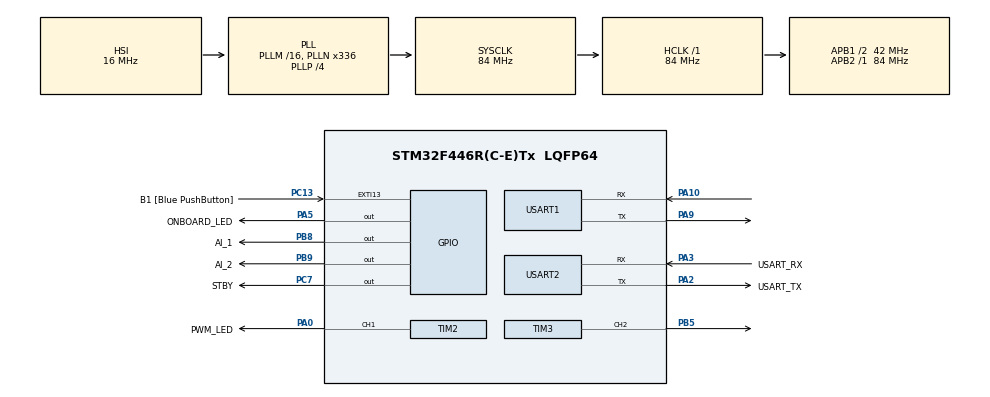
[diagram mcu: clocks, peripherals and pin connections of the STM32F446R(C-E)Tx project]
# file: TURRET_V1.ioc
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Mcu.Family=STM32F4
Mcu.Name=STM32F446R(C-E)Tx
Mcu.Package=LQFP64
NVIC.PriorityGroup=NVIC_PRIORITYGROUP_0
NVIC.USART1_IRQn=true\:0\:0\:false\:false\:true\:true\:true\:true
PA0-WKUP.GPIO_Label=PWM_LED
PA0-WKUP.Signal=S_TIM2_CH1_ETR
PA10.Mode=Asynchronous
PA10.Signal=USART1_RX
PA13.GPIO_Label=TMS
PA13.Mode=Serial_Wire
PA13.Signal=SYS_JTMS-SWDIO
PA14.GPIO_Label=TCK
PA14.Mode=Serial_Wire
PA14.Signal=SYS_JTCK-SWCLK
PA2.GPIO_Label=USART_TX
PA2.Mode=Asynchronous
PA2.Signal=USART2_TX
PA3.GPIO_Label=USART_RX
PA3.Mode=Asynchronous
PA3.Signal=USART2_RX
PA5.GPIO_Label=ONBOARD_LED
PA5.Signal=GPIO_Output
PA9.Mode=Asynchronous
PA9.Signal=USART1_TX
PB3.GPIO_Label=SWO
PB3.Signal=SYS_JTDO-SWO
PB5.Signal=S_TIM3_CH2
PB8.GPIO_Label=AI_1
PB8.Signal=GPIO_Output
PB9.GPIO_Label=AI_2
PB9.Signal=GPIO_Output
PC13.GPIO_Label=B1 [Blue PushButton]
PC13.GPIO_ModeDefaultEXTI=GPIO_MODE_IT_FALLING
PC13.Signal=GPXTI13
PC14-OSC32_IN.Mode=LSE-External-Oscillator
PC14-OSC32_IN.Signal=RCC_OSC32_IN
PC15-OSC32_OUT.Mode=LSE-External-Oscillator
PC15-OSC32_OUT.Signal=RCC_OSC32_OUT
PC7.GPIO_Label=STBY
PC7.PinState=GPIO_PIN_RESET
PC7.Signal=GPIO_Output
PH0-OSC_IN.Mode=HSE-External-Oscillator
PH0-OSC_IN.Signal=RCC_OSC_IN
PH1-OSC_OUT.Mode=HSE-External-Oscillator
PH1-OSC_OUT.Signal=RCC_OSC_OUT
ProjectManager.HeapSize=0x200
ProjectManager.StackSize=0x400
ProjectManager.TargetToolchain=STM32CubeIDE
RCC.48MHZClocksFreq_Value=84000000
RCC.AHBFreq_Value=84000000
RCC.APB1CLKDivider=RCC_HCLK_DIV2
RCC.APB1Freq_Value=42000000
RCC.APB1TimFreq_Value=84000000
RCC.APB2Freq_Value=84000000
RCC.APB2TimFreq_Value=84000000
RCC.CortexFreq_Value=84000000
RCC.FLatency-AdvancedSettings=FLASH_LATENCY_2
RCC.HCLKFreq_Value=84000000
RCC.HSE_VALUE=8000000
RCC.HSI_VALUE=16000000
RCC.PLLN=336
RCC.PLLP=RCC_PLLP_DIV4
RCC.SYSCLKFreq_VALUE=84000000
RCC.SYSCLKSource=RCC_SYSCLKSOURCE_PLLCLK
RCC.USBFreq_Value=168000000
RCC.VCOOutputFreq_Value=336000000
SH.S_TIM2_CH1_ETR.0=TIM2_CH1,PWM Generation1 CH1
SH.S_TIM3_CH2.0=TIM3_CH2,PWM Generation2 CH2
TIM2.Channel-PWM\ Generation1\ CH1=TIM_CHANNEL_1
TIM2.Period=999
TIM2.Prescaler=3
TIM3.Channel-PWM\ Generation2\ CH2=TIM_CHANNEL_2
TIM3.Period=999
TIM3.Prescaler=3
USART1.VirtualMode=VM_ASYNC
USART2.VirtualMode=VM_ASYNC
VP_TIM2_VS_ClockSourceINT.Mode=Internal
VP_TIM3_VS_ClockSourceINT.Mode=Internal
board=NUCLEO-F446RE

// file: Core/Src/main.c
/* USER CODE BEGIN Header */
/**
  ******************************************************************************
  * @file           : main.c
  * @brief          : Main program body
  ******************************************************************************
  * @attention
  *
  * Copyright (c) 2026 STMicroelectronics.
  * All rights reserved.
  *
  * This software is licensed under terms that can be found in the LICENSE file
  * in the root directory of this software component.
  * If no LICENSE file comes with this software, it is provided AS-IS.
  *
  ******************************************************************************
  */
/* USER CODE END Header */
#include "main.h"

/* USER CODE BEGIN Includes */
#include "string.h"
#include "stdlib.h"
#include "stdio.h"

/* USER CODE END Includes */

TIM_HandleTypeDef htim2;
TIM_HandleTypeDef htim3;

UART_HandleTypeDef huart1;
UART_HandleTypeDef huart2;

void SystemClock_Config(void);
static void MX_GPIO_Init(void);
static void MX_TIM2_Init(void);
static void MX_TIM3_Init(void);
static void MX_USART1_UART_Init(void);
static void MX_USART2_UART_Init(void);
/* USER CODE BEGIN PFP */
void parse(char *buffer);

/* USER CODE END PFP */

/* USER CODE BEGIN 0 */
#define RX_BUF_SIZE 32

volatile char rx_buff[RX_BUF_SIZE];
uint16_t power;
char dir;
uint32_t ccr;
volatile uint8_t cmdReady;
volatile uint8_t rxByte;
volatile uint8_t rxIndex;

//  ----------- STATE MACHINE FOR MOTOR / ONBOARD LED -------------
typedef enum {
    STOP,
    FORWARD,
    REVERSE
} Direction;

Direction direction = STOP;

/* USER CODE END 0 */

int main(void)
{

  /* MCU Configuration--------------------------------------------------------*/

  /* Reset of all peripherals, Initializes the Flash interface and the Systick. */
  HAL_Init();

  /* Configure the system clock */
  SystemClock_Config();

  /* Initialize all configured peripherals */
  MX_GPIO_Init();
  MX_TIM2_Init();
  MX_TIM3_Init();
  MX_USART1_UART_Init();
  MX_USART2_UART_Init();
  /* USER CODE BEGIN 2 */

  //  ------------ CONFIGURE PERIPHERALS TO RECEIVE INSTRUCTION --------------

  HAL_UART_Receive_IT(&huart1, &rxByte, 1);
  HAL_TIM_PWM_Start(&htim2, TIM_CHANNEL_1);
  HAL_TIM_PWM_Start(&htim3, TIM_CHANNEL_2);

  HAL_GPIO_WritePin(STBY_GPIO_Port, STBY_Pin, GPIO_PIN_SET);

  /* USER CODE END 2 */

  /* Infinite loop */
  /* USER CODE BEGIN WHILE */

  while (1)
  {

	  if (cmdReady) {

	      parse(rx_buff);          // populates dir, pow

	      if (power == 0 || dir == 's') {
	          direction = STOP;
	      } else if (dir == 'f') {
	          direction = FORWARD;
	      } else {
	          direction = REVERSE;
	      }

	      // set driver inputs based on direction
	      if(direction == STOP) {
	    	  HAL_GPIO_WritePin(AI_1_GPIO_Port, AI_1_Pin, GPIO_PIN_RESET);
	    	  HAL_GPIO_WritePin(AI_2_GPIO_Port, AI_2_Pin, GPIO_PIN_RESET);

	    	  HAL_GPIO_WritePin(ONBOARD_LED_GPIO_Port, ONBOARD_LED_Pin, GPIO_PIN_RESET);
	      }
	      else if (direction == FORWARD){
	    	  HAL_GPIO_WritePin(AI_1_GPIO_Port, AI_1_Pin, GPIO_PIN_SET);
	    	  HAL_GPIO_WritePin(AI_2_GPIO_Port, AI_2_Pin, GPIO_PIN_RESET);

	    	  HAL_GPIO_WritePin(ONBOARD_LED_GPIO_Port, ONBOARD_LED_Pin, GPIO_PIN_SET);
	      }
	      else {
	    	  HAL_GPIO_WritePin(AI_1_GPIO_Port, AI_1_Pin, GPIO_PIN_RESET);
	    	  HAL_GPIO_WritePin(AI_2_GPIO_Port, AI_2_Pin, GPIO_PIN_SET);
	      }

	      // configuring ccr to drive pwm light
	      if (power > 999) {
	    	  power = 999;
	      }

	      ccr = power;
	      __HAL_TIM_SET_COMPARE(&htim2, TIM_CHANNEL_1, ccr);
	      __HAL_TIM_SET_COMPARE(&htim3, TIM_CHANNEL_2, ccr);

	      // debug echo back to Mac over USART2
	      char dbg[64];
	      int len = snprintf(dbg, sizeof(dbg),
	                         "RX: %s | dir=%c power=%u ccr=%lu\r\n",
	                         (char*)rx_buff, dir, power, ccr);
	      HAL_UART_Transmit(&huart2, (uint8_t*)dbg, len, HAL_MAX_DELAY);

	      cmdReady = 0;

	 }
    /* USER CODE END WHILE */

  }
}

void SystemClock_Config(void)
{
  RCC_OscInitTypeDef RCC_OscInitStruct = {0};
  RCC_ClkInitTypeDef RCC_ClkInitStruct = {0};

  /** Configure the main internal regulator output voltage
  */
  __HAL_RCC_PWR_CLK_ENABLE();
  __HAL_PWR_VOLTAGESCALING_CONFIG(PWR_REGULATOR_VOLTAGE_SCALE3);

  /** Initializes the RCC Oscillators according to the specified parameters
  * in the RCC_OscInitTypeDef structure.
  */
  RCC_OscInitStruct.OscillatorType = RCC_OSCILLATORTYPE_HSI;
  RCC_OscInitStruct.HSIState = RCC_HSI_ON;
  RCC_OscInitStruct.HSICalibrationValue = RCC_HSICALIBRATION_DEFAULT;
  RCC_OscInitStruct.PLL.PLLState = RCC_PLL_ON;
  RCC_OscInitStruct.PLL.PLLSource = RCC_PLLSOURCE_HSI;
  RCC_OscInitStruct.PLL.PLLM = 16;
  RCC_OscInitStruct.PLL.PLLN = 336;
  RCC_OscInitStruct.PLL.PLLP = RCC_PLLP_DIV4;
  RCC_OscInitStruct.PLL.PLLQ = 2;
  RCC_OscInitStruct.PLL.PLLR = 2;
  if (HAL_RCC_OscConfig(&RCC_OscInitStruct) != HAL_OK)
  {
    Error_Handler();
  }

  /** Initializes the CPU, AHB and APB buses clocks
  */
  RCC_ClkInitStruct.ClockType = RCC_CLOCKTYPE_HCLK|RCC_CLOCKTYPE_SYSCLK
                              |RCC_CLOCKTYPE_PCLK1|RCC_CLOCKTYPE_PCLK2;
  RCC_ClkInitStruct.SYSCLKSource = RCC_SYSCLKSOURCE_PLLCLK;
  RCC_ClkInitStruct.AHBCLKDivider = RCC_SYSCLK_DIV1;
  RCC_ClkInitStruct.APB1CLKDivider = RCC_HCLK_DIV2;
  RCC_ClkInitStruct.APB2CLKDivider = RCC_HCLK_DIV1;

  if (HAL_RCC_ClockConfig(&RCC_ClkInitStruct, FLASH_LATENCY_2) != HAL_OK)
  {
    Error_Handler();
  }
}

static void MX_TIM2_Init(void)
{

  TIM_ClockConfigTypeDef sClockSourceConfig = {0};
  TIM_MasterConfigTypeDef sMasterConfig = {0};
  TIM_OC_InitTypeDef sConfigOC = {0};

  htim2.Instance = TIM2;
  htim2.Init.Prescaler = 3;
  htim2.Init.CounterMode = TIM_COUNTERMODE_UP;
  htim2.Init.Period = 999;
  htim2.Init.ClockDivision = TIM_CLOCKDIVISION_DIV1;
  htim2.Init.AutoReloadPreload = TIM_AUTORELOAD_PRELOAD_DISABLE;
  if (HAL_TIM_Base_Init(&htim2) != HAL_OK)
  {
    Error_Handler();
  }
  sClockSourceConfig.ClockSource = TIM_CLOCKSOURCE_INTERNAL;
  if (HAL_TIM_ConfigClockSource(&htim2, &sClockSourceConfig) != HAL_OK)
  {
    Error_Handler();
  }
  if (HAL_TIM_PWM_Init(&htim2) != HAL_OK)
  {
    Error_Handler();
  }
  sMasterConfig.MasterOutputTrigger = TIM_TRGO_RESET;
  sMasterConfig.MasterSlaveMode = TIM_MASTERSLAVEMODE_DISABLE;
  if (HAL_TIMEx_MasterConfigSynchronization(&htim2, &sMasterConfig) != HAL_OK)
  {
    Error_Handler();
  }
  sConfigOC.OCMode = TIM_OCMODE_PWM1;
  sConfigOC.Pulse = 0;
  sConfigOC.OCPolarity = TIM_OCPOLARITY_HIGH;
  sConfigOC.OCFastMode = TIM_OCFAST_DISABLE;
  if (HAL_TIM_PWM_ConfigChannel(&htim2, &sConfigOC, TIM_CHANNEL_1) != HAL_OK)
  {
    Error_Handler();
  }
  HAL_TIM_MspPostInit(&htim2);

}

static void MX_TIM3_Init(void)
{

  TIM_ClockConfigTypeDef sClockSourceConfig = {0};
  TIM_MasterConfigTypeDef sMasterConfig = {0};
  TIM_OC_InitTypeDef sConfigOC = {0};

  htim3.Instance = TIM3;
  htim3.Init.Prescaler = 3;
  htim3.Init.CounterMode = TIM_COUNTERMODE_UP;
  htim3.Init.Period = 999;
  htim3.Init.ClockDivision = TIM_CLOCKDIVISION_DIV1;
  htim3.Init.AutoReloadPreload = TIM_AUTORELOAD_PRELOAD_DISABLE;
  if (HAL_TIM_Base_Init(&htim3) != HAL_OK)
  {
    Error_Handler();
  }
  sClockSourceConfig.ClockSource = TIM_CLOCKSOURCE_INTERNAL;
  if (HAL_TIM_ConfigClockSource(&htim3, &sClockSourceConfig) != HAL_OK)
  {
    Error_Handler();
  }
  if (HAL_TIM_PWM_Init(&htim3) != HAL_OK)
  {
    Error_Handler();
  }
  sMasterConfig.MasterOutputTrigger = TIM_TRGO_RESET;
  sMasterConfig.MasterSlaveMode = TIM_MASTERSLAVEMODE_DISABLE;
  if (HAL_TIMEx_MasterConfigSynchronization(&htim3, &sMasterConfig) != HAL_OK)
  {
    Error_Handler();
  }
  sConfigOC.OCMode = TIM_OCMODE_PWM1;
  sConfigOC.Pulse = 0;
  sConfigOC.OCPolarity = TIM_OCPOLARITY_HIGH;
  sConfigOC.OCFastMode = TIM_OCFAST_DISABLE;
  if (HAL_TIM_PWM_ConfigChannel(&htim3, &sConfigOC, TIM_CHANNEL_2) != HAL_OK)
  {
    Error_Handler();
  }
  HAL_TIM_MspPostInit(&htim3);

}

static void MX_USART1_UART_Init(void)
{

  huart1.Instance = USART1;
  huart1.Init.BaudRate = 115200;
  huart1.Init.WordLength = UART_WORDLENGTH_8B;
  huart1.Init.StopBits = UART_STOPBITS_1;
  huart1.Init.Parity = UART_PARITY_NONE;
  huart1.Init.Mode = UART_MODE_TX_RX;
  huart1.Init.HwFlowCtl = UART_HWCONTROL_NONE;
  huart1.Init.OverSampling = UART_OVERSAMPLING_16;
  if (HAL_UART_Init(&huart1) != HAL_OK)
  {
    Error_Handler();
  }

}

static void MX_USART2_UART_Init(void)
{

  huart2.Instance = USART2;
  huart2.Init.BaudRate = 115200;
  huart2.Init.WordLength = UART_WORDLENGTH_8B;
  huart2.Init.StopBits = UART_STOPBITS_1;
  huart2.Init.Parity = UART_PARITY_NONE;
  huart2.Init.Mode = UART_MODE_TX_RX;
  huart2.Init.HwFlowCtl = UART_HWCONTROL_NONE;
  huart2.Init.OverSampling = UART_OVERSAMPLING_16;
  if (HAL_UART_Init(&huart2) != HAL_OK)
  {
    Error_Handler();
  }

}

static void MX_GPIO_Init(void)
{
  GPIO_InitTypeDef GPIO_InitStruct = {0};

  /* GPIO Ports Clock Enable */
  __HAL_RCC_GPIOC_CLK_ENABLE();
  __HAL_RCC_GPIOH_CLK_ENABLE();
  __HAL_RCC_GPIOA_CLK_ENABLE();
  __HAL_RCC_GPIOB_CLK_ENABLE();

  /*Configure GPIO pin Output Level */
  HAL_GPIO_WritePin(ONBOARD_LED_GPIO_Port, ONBOARD_LED_Pin, GPIO_PIN_RESET);

  /*Configure GPIO pin Output Level */
  HAL_GPIO_WritePin(STBY_GPIO_Port, STBY_Pin, GPIO_PIN_RESET);

  /*Configure GPIO pin Output Level */
  HAL_GPIO_WritePin(GPIOB, AI_1_Pin|AI_2_Pin, GPIO_PIN_RESET);

  /*Configure GPIO pin : B1_Pin */
  GPIO_InitStruct.Pin = B1_Pin;
  GPIO_InitStruct.Mode = GPIO_MODE_IT_FALLING;
  GPIO_InitStruct.Pull = GPIO_NOPULL;
  HAL_GPIO_Init(B1_GPIO_Port, &GPIO_InitStruct);

  /*Configure GPIO pin : ONBOARD_LED_Pin */
  GPIO_InitStruct.Pin = ONBOARD_LED_Pin;
  GPIO_InitStruct.Mode = GPIO_MODE_OUTPUT_PP;
  GPIO_InitStruct.Pull = GPIO_NOPULL;
  GPIO_InitStruct.Speed = GPIO_SPEED_FREQ_LOW;
  HAL_GPIO_Init(ONBOARD_LED_GPIO_Port, &GPIO_InitStruct);

  /*Configure GPIO pin : STBY_Pin */
  GPIO_InitStruct.Pin = STBY_Pin;
  GPIO_InitStruct.Mode = GPIO_MODE_OUTPUT_PP;
  GPIO_InitStruct.Pull = GPIO_NOPULL;
  GPIO_InitStruct.Speed = GPIO_SPEED_FREQ_LOW;
  HAL_GPIO_Init(STBY_GPIO_Port, &GPIO_InitStruct);

  /*Configure GPIO pins : AI_1_Pin AI_2_Pin */
  GPIO_InitStruct.Pin = AI_1_Pin|AI_2_Pin;
  GPIO_InitStruct.Mode = GPIO_MODE_OUTPUT_PP;
  GPIO_InitStruct.Pull = GPIO_NOPULL;
  GPIO_InitStruct.Speed = GPIO_SPEED_FREQ_LOW;
  HAL_GPIO_Init(GPIOB, &GPIO_InitStruct);

}

/* USER CODE BEGIN 4 */

// ------------ PARSES RX_BUFFER INTO DIRECTION AND POWER PARAMETERS -----------
void parse(char *buffer) {
	dir = buffer[0];
	power = atoi(&buffer[1]);
}

// ------------ OVERWRITES WEAK ISR FUNCTION ----------------
void HAL_UART_RxCpltCallback(UART_HandleTypeDef *huart)
{
	if (huart->Instance == USART1) {
		if (rxByte == '\r' || rxByte == '\n') {
			rx_buff[rxIndex] = '\0';
			cmdReady = 1;
			rxIndex = 0;
		} else if (rxIndex < RX_BUF_SIZE - 1) {
			rx_buff[rxIndex] = rxByte;
			rxIndex++;
		}
	}
	HAL_UART_Receive_IT(&huart1, &rxByte, 1);
}

/* USER CODE END 4 */

void Error_Handler(void)
{
  __disable_irq();
  while (1)
  {
  }
}
